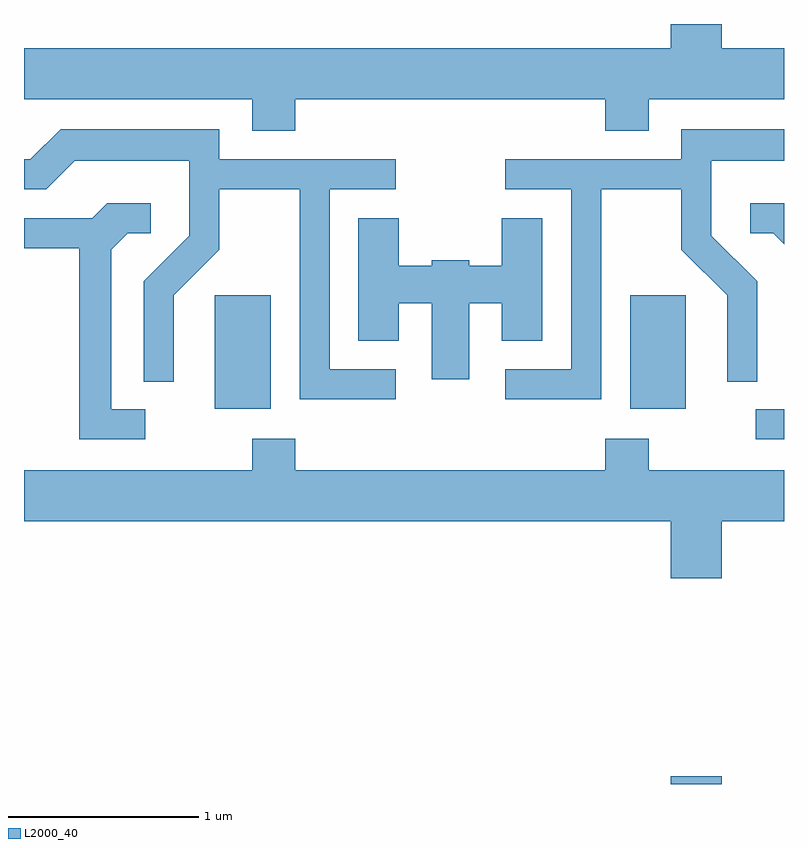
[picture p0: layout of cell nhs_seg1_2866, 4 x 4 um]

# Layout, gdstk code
import gdstk
lib = gdstk.Library(unit=1e-6, precision=1e-09)
def R(c, l, rs):  # rectangles x0, y0, x1, y1
    for r in rs: c.add(gdstk.rectangle(r[:2], r[2:], *l))
def P(c, l, *ps):  # polygons
    for p in ps: c.add(gdstk.Polygon(p, *l))
L2000_40 = (2000, 40)

nhs_seg1_2866 = lib.new_cell('nhs_seg1_2866')
R(nhs_seg1_2866, L2000_40, [(275.016,933.712,275.284,933.754), (275.463,935.526,275.611,935.684), (272.616,935.686,272.909,936.284), (274.801,935.686,275.094,936.284)])
P(nhs_seg1_2866, L2000_40, [(273.039,937.316),(274.671,937.316),(274.671,937.151),(274.899,937.151),(274.899,937.316),(275.611,937.316),(275.611,937.584),(275.284,937.584),(275.284,937.712),(275.016,937.712),(275.016,937.584),(271.611,937.584),(271.611,937.316),(272.811,937.316),(272.811,937.151),(273.039,937.151)],
  [(274.649,936.841),(275.071,936.841),(275.071,936.524),(275.311,936.284),(275.311,935.828),(275.469,935.828),(275.469,936.357),(275.229,936.597),(275.229,936.991),(275.611,936.991),(275.611,937.159),(275.071,937.159),(275.071,936.999),(274.143,936.999),(274.143,936.841),(274.491,936.841),(274.491,935.894),(274.143,935.894),(274.143,935.736),(274.649,935.736)],
  [(273.568,935.894),(273.219,935.894),(273.219,936.841),(273.568,936.841),(273.568,936.999),(272.639,936.999),(272.639,937.159),(271.804,937.159),(271.644,936.999),(271.611,936.999),(271.611,936.841),(271.727,936.841),(271.877,936.991),(272.481,936.991),(272.481,936.597),(272.241,936.357),(272.241,935.828),(272.399,935.828),(272.399,936.284),(272.639,936.524),(272.639,936.841),(273.061,936.841),(273.061,935.736),(273.568,935.736)],
  [(275.611,936.769),(275.433,936.769),(275.433,936.611),(275.554,936.611),(275.611,936.554)],
  [(272.248,935.684),(272.069,935.684),(272.069,936.524),(272.157,936.611),(272.278,936.611),(272.278,936.769),(272.049,936.769),(271.969,936.689),(271.611,936.689),(271.611,936.531),(271.901,936.531),(271.901,935.526),(272.248,935.526)],
  [(273.954,936.241),(274.126,936.241),(274.126,936.046),(274.339,936.046),(274.339,936.689),(274.126,936.689),(274.126,936.439),(273.954,936.439),(273.954,936.469),(273.756,936.469),(273.756,936.439),(273.584,936.439),(273.584,936.689),(273.371,936.689),(273.371,936.046),(273.584,936.046),(273.584,936.241),(273.756,936.241),(273.756,935.841),(273.954,935.841)],
  [(275.284,935.096),(275.611,935.096),(275.611,935.364),(274.899,935.364),(274.899,935.529),(274.671,935.529),(274.671,935.364),(273.039,935.364),(273.039,935.529),(272.811,935.529),(272.811,935.364),(271.611,935.364),(271.611,935.096),(275.016,935.096),(275.016,934.796),(275.284,934.796)])

lib.write_gds('nhs_seg1_2866.gds')
